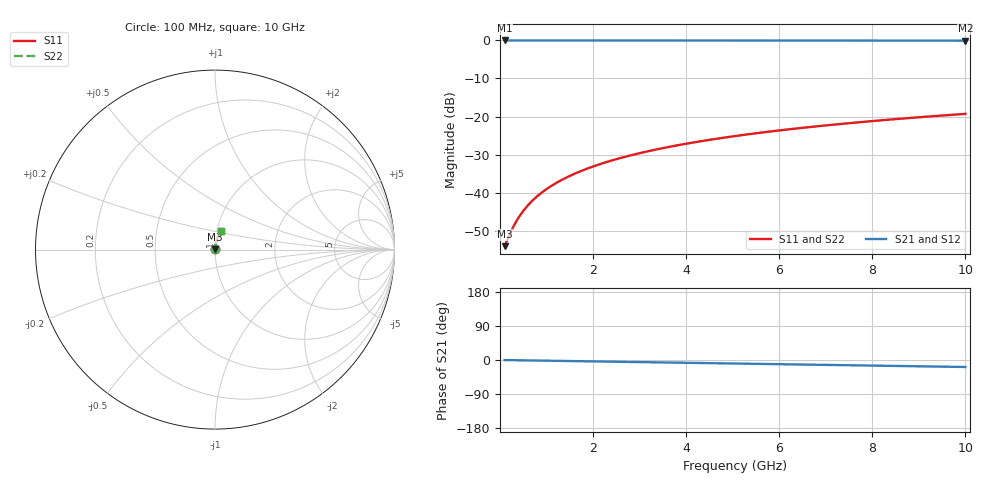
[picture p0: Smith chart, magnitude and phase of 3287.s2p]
# Hz S RI R 50.00
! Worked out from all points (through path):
!   100 points, 100 MHz to 10 GHz, reference 50 ohm
!   highest |S21| = -0.01 dB at 100 MHz (marker M1); lowest = -0.1 dB at 10 GHz (marker M2)
!   group delay of S21, straight-line fit = 5.13 ps
!   lowest |S11| = -54.1 dB at 100 MHz (marker M3), VSWR 1.00, Z = 50.2 + j0.11 ohm
!   |S11| at or under -10 dB: start of sweep to end of sweep
!   |S22| runs from -54.1 to -19.3 dB; largest |S21 - S12| = 0
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1e8  0.00165 0.00109  0.9983 -0.00321  0.9983 -0.00321  0.00165 0.00109
2e8  0.00167 0.00219  0.9983 -0.00642  0.9983 -0.00642  0.00167 0.00219
3e8  0.0017 0.00328  0.9983 -0.00962  0.9983 -0.00962  0.0017 0.00328
4e8  0.00173 0.00438  0.9982 -0.0128  0.9982 -0.0128  0.00173 0.00438
5e8  0.00176 0.00547  0.9982 -0.016  0.9982 -0.016  0.00176 0.00547
6e8  0.0018 0.00657  0.9981 -0.0192  0.9981 -0.0192  0.0018 0.00657
7e8  0.00185 0.00766  0.998 -0.0225  0.998 -0.0225  0.00185 0.00766
9e8  0.00197 0.00985  0.9978 -0.0289  0.9978 -0.0289  0.00197 0.00985
1e9  0.00204 0.0109  0.9977 -0.0321  0.9977 -0.0321  0.00204 0.0109
1.2e9  0.0022 0.0131  0.9975 -0.0385  0.9975 -0.0385  0.0022 0.0131
1.5e9  0.00249 0.0164  0.997 -0.0481  0.997 -0.0481  0.00249 0.0164
1.8e9  0.00285 0.0197  0.9964 -0.0577  0.9964 -0.0577  0.00285 0.0197
2.1e9  0.00326 0.0229  0.9957 -0.0673  0.9957 -0.0673  0.00326 0.0229
2.5e9  0.00391 0.0272  0.9946 -0.0801  0.9946 -0.0801  0.00391 0.0272
2.9e9  0.00468 0.0316  0.9934 -0.0929  0.9934 -0.0929  0.00468 0.0316
3.4e9  0.00578 0.0369  0.9916 -0.1088  0.9916 -0.1088  0.00578 0.0369
4.2e9  0.00791 0.0454  0.988 -0.1343  0.988 -0.1343  0.00791 0.0454
5.1e9  0.0108 0.0548  0.9832 -0.1628  0.9832 -0.1628  0.0108 0.0548
5.9e9  0.0139 0.063  0.9782 -0.188  0.9782 -0.188  0.0139 0.063
6.7e9  0.0173 0.0711  0.9724 -0.213  0.9724 -0.213  0.0173 0.0711
8.4e9  0.0261 0.0876  0.9578 -0.2656  0.9578 -0.2656  0.0261 0.0876
1e10  0.0359 0.1022  0.9411 -0.3141  0.9411 -0.3141  0.0359 0.1022
